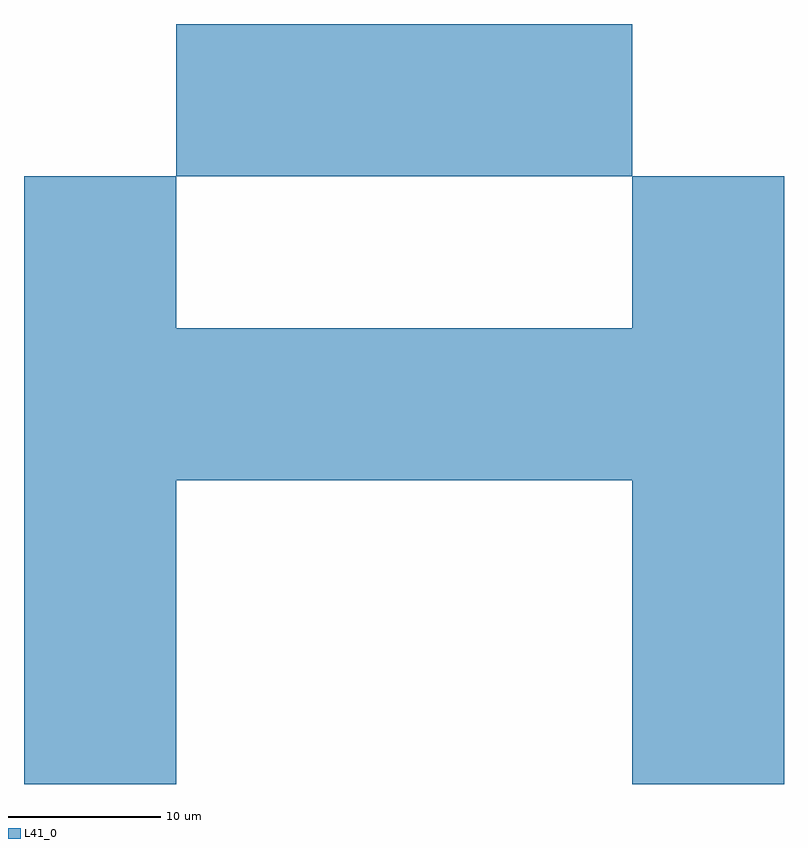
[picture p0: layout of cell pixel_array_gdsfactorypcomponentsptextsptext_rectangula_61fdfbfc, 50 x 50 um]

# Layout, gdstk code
import gdstk
lib = gdstk.Library(unit=1e-6, precision=1e-09)
def R(c, l, rs):  # rectangles x0, y0, x1, y1
    for r in rs: c.add(gdstk.rectangle(r[:2], r[2:], *l))
def A(c, l, x, y, w, h, nx, ny, dx, dy):  # array of equal rectangles
    R(c, l, [(x+i*dx, y+j*dy, x+i*dx+w, y+j*dy+h) for i in range(nx) for j in range(ny)])
L41_0 = (41, 0)

pixel_array_gdsfactorypc = lib.new_cell('pixel_array_gdsfactorypcomponentsptextsptext_rectangula_61fdfbfc')
A(pixel_array_gdsfactorypc, L41_0, 0, 20, 10, 10, 5, 1, 10, 0)
A(pixel_array_gdsfactorypc, L41_0, 10, 40, 10, 10, 3, 1, 10, 0)
R(pixel_array_gdsfactorypc, L41_0, [(0,0,10,10), (40,0,50,10), (0,10,10,20), (40,10,50,20), (0,30,10,40), (40,30,50,40)])

lib.write_gds('pixel_array_gdsfactorypcomponentsptextsptext_rectangula_61fdfbfc.gds')
